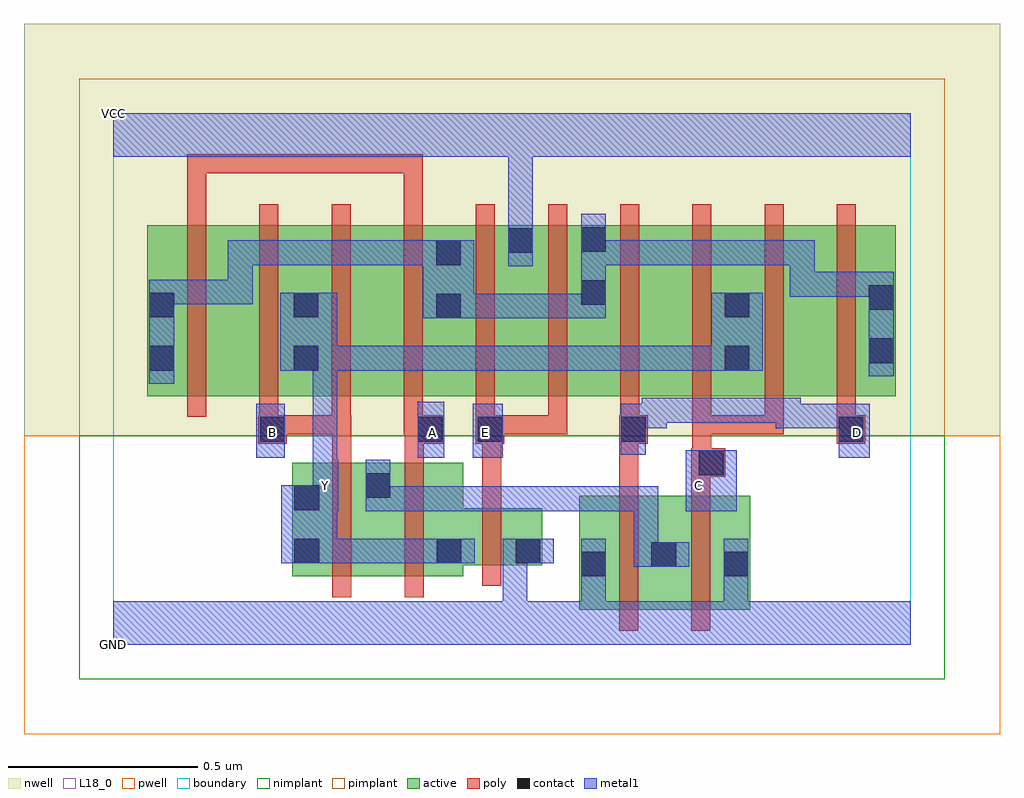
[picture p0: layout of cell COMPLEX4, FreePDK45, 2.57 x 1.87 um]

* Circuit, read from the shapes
.subckt COMPLEX4 A B C D E GND VCC Y
M1 n1 B Y VSUBS nfet w=0.3u l=0.05u
M2 Y A n1 VSUBS nfet w=0.3u l=0.05u
M3 GND E Y VSUBS nfet w=0.15u l=0.05u
M4 n1 D GND VSUBS nfet w=0.3u l=0.05u
M5 GND C n1 VSUBS nfet w=0.3u l=0.05u
M6 n2 A n3 n4 pfet w=0.45u l=0.05u
M7 Y B n2 n4 pfet w=0.45u l=0.05u
M8 n5 B Y n4 pfet w=0.45u l=0.05u
M9 n3 A n5 n4 pfet w=0.45u l=0.05u
M10 VCC E n3 n4 pfet w=0.45u l=0.05u m=2
M11 n6 D n3 n4 pfet w=0.45u l=0.05u
M12 Y C n6 n4 pfet w=0.45u l=0.05u
M13 n7 C Y n4 pfet w=0.45u l=0.05u
M14 n3 D n7 n4 pfet w=0.45u l=0.05u
.ends

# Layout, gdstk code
import gdstk
lib = gdstk.Library(unit=1e-6, precision=1e-09)
def R(c, l, rs):  # rectangles x0, y0, x1, y1
    for r in rs: c.add(gdstk.rectangle(r[:2], r[2:], *l))
def A(c, l, x, y, w, h, nx, ny, dx, dy):  # array of equal rectangles
    R(c, l, [(x+i*dx, y+j*dy, x+i*dx+w, y+j*dy+h) for i in range(nx) for j in range(ny)])
active = (1, 0)
pwell = (2, 0)
nwell = (3, 0)
nimplant = (4, 0)
pimplant = (5, 0)
poly = (9, 0)
contact = (10, 0)
metal1 = (11, 0)
L18_0 = (18, 0)
boundary = (235, 0)

complex4 = lib.new_cell('COMPLEX4')
R(complex4, active, [(1.227,0.092,1.302,0.392), (1.227,0.092,1.487,0.392), (1.412,0.092,1.677,0.392), (1.602,0.092,1.677,0.392), (0.472,0.18,0.735,0.48), (0.66,0.18,0.922,0.48), (0.472,0.195,0.547,0.48), (0.66,0.195,0.735,0.457), (1.412,0.195,1.487,0.392), (0.847,0.2,0.922,0.36), (0.847,0.21,1.13,0.36), (1.055,0.21,1.13,0.36), (0.09,0.655,0.315,1.105), (0.09,0.655,0.165,1.055), (0.315,0.655,0.545,1.105), (0.47,0.655,0.695,1.105), (0.47,0.655,0.545,1.07), (0.695,0.655,0.92,1.105), (0.845,0.655,1.11,1.105), (1.035,0.655,1.302,1.105), (1.227,0.655,1.455,1.105), (1.455,0.655,1.68,1.105), (1.605,0.655,1.835,1.105), (1.835,0.655,2.06,1.105), (1.985,0.655,2.06,1.09), (1.227,0.702,1.302,1.105), (1.605,0.702,1.68,1.055), (0.845,0.782,0.92,1.105), (1.035,0.857,1.11,1.105)])
R(complex4, pwell, [(-0.235,-0.235,2.335,0.55)])
R(complex4, nwell, [(-0.235,0.55,2.335,1.635)])
R(complex4, nimplant, [(-0.09,-0.09,2.19,0.55)])
R(complex4, pimplant, [(-0.09,0.55,2.19,1.49)])
A(complex4, poly, 0.385, 0.555, 0.05, 0.095, 9, 1, 0.19, 0)
A(complex4, poly, 0.195, 0.6, 0.05, 0.56, 10, 1, 0.19, 0)
R(complex4, poly, [(1.332,0.037,1.382,0.447), (1.522,0.037,1.572,0.447), (0.577,0.125,0.627,0.535), (0.767,0.125,0.817,0.535), (0.972,0.155,1.022,0.415), (0.972,0.365,1.022,0.58), (1.332,0.397,1.382,0.58), (1.522,0.397,1.572,0.492), (1.522,0.442,1.612,0.517), (1.525,0.467,1.575,0.605), (0.577,0.485,0.627,0.605), (0.767,0.485,0.817,0.58), (0.382,0.53,0.457,0.605), (0.767,0.53,0.872,0.605), (0.955,0.53,1.03,0.605), (1.332,0.53,1.407,0.605), (1.332,0.53,1.382,0.58), (1.332,0.53,1.382,0.58), (1.905,0.53,1.98,0.605), (0.407,0.555,0.625,0.605), (0.575,0.555,0.625,0.605), (0.575,0.555,0.625,0.605), (0.575,0.555,0.627,0.605), (0.577,0.555,0.627,0.605), (0.577,0.555,0.627,0.605), (0.765,0.555,0.817,0.605), (0.767,0.555,0.817,0.605), (0.955,0.555,1.195,0.605), (0.955,0.555,1.005,0.605), (0.955,0.555,1.005,0.605), (0.955,0.555,1.005,0.605), (0.955,0.555,1.005,0.605), (1.145,0.555,1.195,0.605), (1.525,0.555,1.765,0.605), (1.525,0.555,1.575,0.605), (1.525,0.555,1.575,0.605), (1.525,0.555,1.575,0.605), (1.715,0.555,1.765,0.605), (0.195,1.11,0.245,1.292), (0.765,1.11,0.815,1.292), (0.195,1.242,0.245,1.292), (0.195,1.242,0.377,1.292), (0.327,1.242,0.377,1.292), (0.327,1.242,0.377,1.292), (0.327,1.242,0.377,1.292), (0.327,1.242,0.682,1.292), (0.632,1.242,0.682,1.292), (0.632,1.242,0.682,1.292), (0.632,1.242,0.682,1.292), (0.632,1.242,0.815,1.292), (0.765,1.242,0.815,1.292), (0.765,1.242,0.815,1.292), (0.765,1.242,0.815,1.292)])
R(complex4, contact, [(1.232,0.18,1.297,0.245), (1.607,0.18,1.672,0.245), (1.417,0.205,1.482,0.27), (0.477,0.215,0.542,0.28), (0.852,0.215,0.917,0.28), (1.06,0.215,1.125,0.28), (0.477,0.355,0.542,0.42), (0.665,0.387,0.73,0.452), (1.542,0.447,1.607,0.512), (0.387,0.535,0.452,0.6), (0.802,0.535,0.867,0.6), (0.96,0.535,1.025,0.6), (1.337,0.535,1.402,0.6), (1.91,0.535,1.975,0.6), (0.095,0.722,0.16,0.787), (0.475,0.722,0.54,0.787), (1.61,0.722,1.675,0.787), (1.99,0.742,2.055,0.807), (0.85,0.86,0.915,0.925), (0.095,0.862,0.16,0.927), (0.475,0.862,0.54,0.927), (1.61,0.862,1.675,0.927), (1.99,0.882,2.055,0.947), (1.232,0.895,1.297,0.96), (0.85,1,0.915,1.065), (1.04,1.032,1.105,1.097), (1.232,1.035,1.297,1.1)])
R(complex4, metal1, [(0,0,2.1,0.115), (1.025,0.05,1.09,0.28), (1.232,0.05,1.297,0.21), (1.607,0.05,1.672,0.21), (1.232,0.145,1.297,0.28), (1.607,0.145,1.672,0.28), (1.37,0.205,1.447,0.27), (1.37,0.205,1.435,0.417), (1.382,0.205,1.517,0.27), (0.442,0.215,0.59,0.42), (0.525,0.215,0.59,0.28), (0.525,0.215,0.59,0.28), (0.525,0.215,0.59,0.28), (0.525,0.215,0.59,0.28), (0.525,0.215,0.742,0.28), (0.677,0.215,0.742,0.28), (0.677,0.215,0.742,0.28), (0.677,0.215,0.742,0.28), (0.677,0.215,0.882,0.28), (0.817,0.215,0.952,0.28), (1.025,0.215,1.09,0.28), (1.025,0.215,1.09,0.28), (1.025,0.215,1.16,0.28), (0.525,0.352,0.59,0.417), (0.525,0.352,0.592,0.487), (0.665,0.352,0.73,0.417), (0.665,0.352,0.73,0.417), (0.665,0.352,0.73,0.487), (0.665,0.352,0.915,0.417), (0.85,0.352,0.915,0.417), (0.85,0.352,0.915,0.417), (0.85,0.352,0.915,0.417), (0.85,0.352,1.122,0.417), (1.057,0.352,1.122,0.417), (1.057,0.352,1.26,0.417), (1.195,0.352,1.26,0.417), (1.195,0.352,1.26,0.417), (1.195,0.352,1.26,0.417), (1.195,0.352,1.435,0.417), (1.507,0.352,1.642,0.512), (0.525,0.422,0.59,0.487), (0.525,0.422,0.59,0.487), (0.525,0.422,0.59,0.787), (0.377,0.492,0.452,0.635), (0.802,0.492,0.872,0.64), (0.947,0.492,1.025,0.635), (1.91,0.492,1.992,0.635), (1.337,0.5,1.402,0.635), (1.337,0.57,1.457,0.635), (1.392,0.57,1.457,0.65), (1.745,0.57,1.81,0.635), (1.745,0.57,1.81,0.635), (1.745,0.57,1.975,0.635), (1.745,0.57,1.81,0.65), (1.392,0.585,1.64,0.65), (1.575,0.585,1.64,0.65), (1.575,0.585,1.64,0.65), (1.575,0.585,1.64,0.65), (1.575,0.585,1.81,0.65), (0.095,0.687,0.16,0.962), (1.99,0.707,2.055,0.982), (0.44,0.722,0.59,0.927), (0.525,0.722,0.59,0.787), (0.525,0.722,0.59,0.787), (0.525,0.722,0.73,0.787), (0.665,0.722,0.73,0.787), (0.665,0.722,0.73,0.787), (0.665,0.722,0.73,0.787), (0.665,0.722,0.88,0.787), (0.815,0.722,0.88,0.787), (0.815,0.722,0.88,0.787), (0.815,0.722,0.88,0.787), (0.815,0.722,1.122,0.787), (1.057,0.722,1.122,0.787), (1.057,0.722,1.26,0.787), (1.195,0.722,1.26,0.787), (1.195,0.722,1.26,0.787), (1.195,0.722,1.26,0.787), (1.195,0.722,1.435,0.787), (1.37,0.722,1.435,0.787), (1.37,0.722,1.435,0.787), (1.37,0.722,1.435,0.787), (1.37,0.722,1.64,0.787), (1.575,0.722,1.64,0.787), (1.575,0.722,1.64,0.787), (1.575,0.722,1.71,0.927), (0.815,0.86,0.95,1.065), (0.885,0.86,0.95,0.925), (0.885,0.86,0.95,0.925), (0.885,0.86,1.122,0.925), (1.057,0.86,1.122,0.925), (1.057,0.86,1.122,0.925), (1.057,0.86,1.122,0.925), (1.057,0.86,1.297,0.925), (1.232,0.86,1.297,1.135), (0.095,0.897,0.16,0.962), (0.095,0.897,0.16,0.962), (0.095,0.897,0.367,0.962), (0.302,0.897,0.367,0.962), (0.302,0.897,0.367,1.065), (1.782,0.917,1.847,0.982), (1.782,0.917,2.055,0.982), (1.782,0.917,1.847,1.065), (1.99,0.917,2.055,0.982), (1.99,0.917,2.055,0.982), (1.04,0.997,1.105,1.132), (0.302,1,0.367,1.065), (0.302,1,0.367,1.065), (0.302,1,0.367,1.065), (0.302,1,0.592,1.065), (0.527,1,0.592,1.065), (0.527,1,0.592,1.065), (0.527,1,0.592,1.065), (0.527,1,0.742,1.065), (0.677,1,0.742,1.065), (0.677,1,0.742,1.065), (0.677,1,0.742,1.065), (0.677,1,0.88,1.065), (1.232,1,1.435,1.065), (1.37,1,1.435,1.065), (1.37,1,1.435,1.065), (1.37,1,1.435,1.065), (1.37,1,1.64,1.065), (1.575,1,1.64,1.065), (1.575,1,1.64,1.065), (1.575,1,1.64,1.065), (1.575,1,1.837,1.065), (1.772,1,1.837,1.065), (1.772,1,1.847,1.065), (1.782,1,1.847,1.065), (1.04,1.067,1.105,1.132), (1.04,1.067,1.105,1.132), (1.04,1.067,1.105,1.35), (0,1.285,2.1,1.4)])
R(complex4, L18_0, [(0,0,2.1,0.115), (1.025,0.05,1.09,0.28), (1.232,0.05,1.297,0.21), (1.607,0.05,1.672,0.21), (1.232,0.145,1.297,0.28), (1.607,0.145,1.672,0.28), (0.442,0.215,0.59,0.42), (0.525,0.215,0.59,0.28), (0.525,0.215,0.59,0.28), (0.525,0.215,0.59,0.28), (0.525,0.215,0.59,0.28), (0.525,0.215,0.742,0.28), (0.677,0.215,0.742,0.28), (0.677,0.215,0.742,0.28), (0.677,0.215,0.742,0.28), (0.677,0.215,0.882,0.28), (0.817,0.215,0.952,0.28), (1.025,0.215,1.09,0.28), (1.025,0.215,1.09,0.28), (1.025,0.215,1.16,0.28), (0.525,0.352,0.59,0.417), (0.525,0.352,0.592,0.487), (1.507,0.352,1.642,0.512), (0.527,0.387,0.592,0.452), (1.507,0.387,1.572,0.452), (0.525,0.422,0.59,0.487), (0.525,0.422,0.59,0.487), (0.525,0.422,0.59,0.787), (0.377,0.492,0.452,0.635), (0.802,0.492,0.872,0.64), (0.947,0.492,1.025,0.635), (1.91,0.492,1.992,0.635), (1.337,0.5,1.402,0.635), (0.387,0.527,0.452,0.592), (0.807,0.527,0.872,0.592), (0.947,0.527,1.012,0.592), (1.927,0.527,1.992,0.592), (1.337,0.57,1.457,0.635), (1.392,0.57,1.457,0.65), (1.745,0.57,1.81,0.635), (1.745,0.57,1.81,0.635), (1.745,0.57,1.81,0.65), (1.745,0.57,1.975,0.635), (1.392,0.585,1.64,0.65), (1.575,0.585,1.64,0.65), (1.575,0.585,1.64,0.65), (1.575,0.585,1.64,0.65), (1.575,0.585,1.81,0.65), (0.44,0.722,0.59,0.927), (0.525,0.722,0.59,0.787), (0.525,0.722,0.59,0.787), (0.525,0.722,0.73,0.787), (0.665,0.722,0.73,0.787), (0.665,0.722,0.73,0.787), (0.665,0.722,0.73,0.787), (0.665,0.722,0.88,0.787), (0.815,0.722,0.88,0.787), (0.815,0.722,0.88,0.787), (0.815,0.722,0.88,0.787), (0.815,0.722,1.122,0.787), (1.057,0.722,1.122,0.787), (1.057,0.722,1.26,0.787), (1.195,0.722,1.26,0.787), (1.195,0.722,1.26,0.787), (1.195,0.722,1.26,0.787), (1.195,0.722,1.435,0.787), (1.37,0.722,1.435,0.787), (1.37,0.722,1.435,0.787), (1.37,0.722,1.435,0.787), (1.37,0.722,1.64,0.787), (1.575,0.722,1.64,0.787), (1.575,0.722,1.64,0.787), (1.575,0.722,1.71,0.927), (1.04,0.997,1.105,1.132), (1.04,1.067,1.105,1.132), (1.04,1.067,1.105,1.132), (1.04,1.067,1.105,1.35), (0,1.285,2.1,1.4)])
R(complex4, boundary, [(0,0,2.1,1.4)])
complex4.add(gdstk.Label('A', (0.84,0.56), layer=11, texttype=0))
complex4.add(gdstk.Label('B', (0.42,0.56), layer=11, texttype=0))
complex4.add(gdstk.Label('C', (1.54,0.42), layer=11, texttype=0))
complex4.add(gdstk.Label('D', (1.96,0.56), layer=11, texttype=0))
complex4.add(gdstk.Label('E', (0.98,0.56), layer=11, texttype=0))
complex4.add(gdstk.Label('Y', (0.56,0.42), layer=11, texttype=0))
complex4.add(gdstk.Label('VCC', (0,1.4), layer=11, texttype=0))
complex4.add(gdstk.Label('GND', (0,0), layer=11, texttype=0))

lib.write_gds('COMPLEX4.gds')
